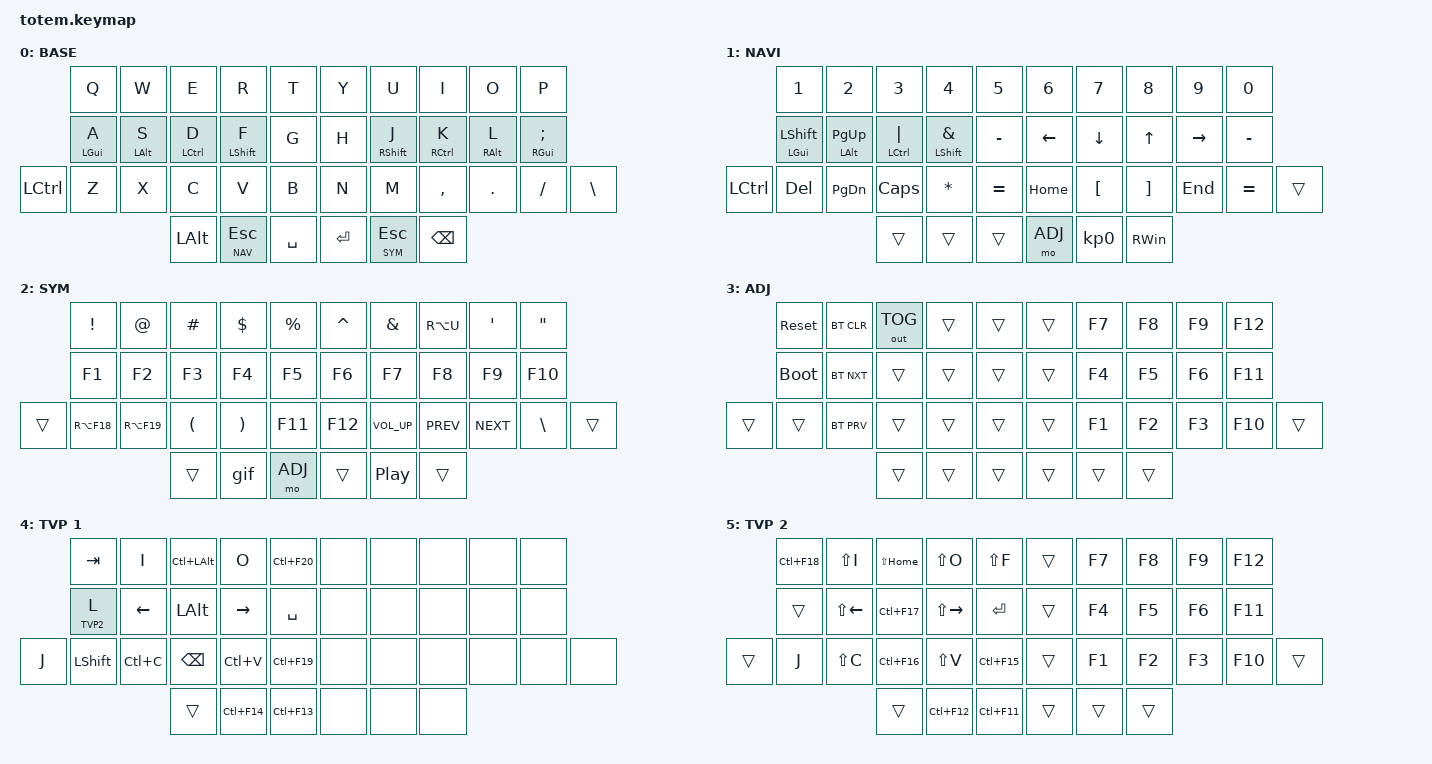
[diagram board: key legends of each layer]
//
//                                                        ▀▀▀▀▀     ▀▀▀▀▀          ▀▀█▀▀
//                                                        ▄▀▀▀▄  ▄  ▄▀▀▀▄  ▄  ▄▀▀▀▄  █  ▄▀▀▀▄
//                                                        █   █  █  █   █  █  █   █  █  █   █
//                                                         ▀▀▀   █   ▀▀▀   █   ▀▀▀   ▀   ▀▀▀
//                                                               █      ▄▄▄█▄▄▄    █   █  
//                                                               ▀      █  █  █     █▄█
//                                                             ▀▀▀▀▀    █  █  █      ▀
//                                                                      ▀  ▀  ▀
//
// ▄▄▄▄▄▄▄▄▄▄▄▄▄▄▄▄▄▄▄▄▄▄▄▄▄▄▄▄▄▄▄▄▄▄▄▄▄▄▄▄▄▄▄▄▄▄▄▄▄▄▄▄▄▄▄▄▄▄▄▄▄▄▄▄▄▄▄▄▄▄▄▄▄▄▄▄▄▄▄▄▄▄▄▄▄▄▄▄▄▄▄▄▄▄▄▄▄▄▄▄▄▄▄▄▄▄▄▄▄▄▄▄▄▄▄▄▄▄▄▄▄▄▄▄▄▄▄▄▄▄▄▄▄▄▄▄▄▄▄▄▄▄▄▄▄▄▄▄▄

#include <behaviors.dtsi>
#include <dt-bindings/zmk/bt.h>
#include <dt-bindings/zmk/keys.h>
#include <dt-bindings/zmk/outputs.h>

#define BASE 0
#define NAV  1
#define SYM  2
#define ADJ  3
#define TVP1 4
#define TVP2 5

&mt {
    quick-tap-ms = <100>;
    global-quick-tap;
    flavor = "tap-preferred";
    tapping-term-ms = <170>;
};

/ {
    combos {
        compatible = "zmk,combos";

        combo_esc {
            timeout-ms = <50>;
            key-positions = <0 1>;
            bindings = <&kp ESC>;
        };

        tab {
            bindings = <&kp TAB>;
            key-positions = <11 12 13>;
        };

        comboBackspace {
            bindings = <&kp GRAVE>;
            key-positions = <8 9>;
        };

        quotes {
            bindings = <&kp SQT>;
            key-positions = <19 18>;
        };
    };

    macros {
        gif: gif {
            label = "giphy";
            compatible = "zmk,behavior-macro";
            #binding-cells = <0>;
            bindings =
                <&macro_press>,
                <&kp LSHFT>,
                <&macro_tap>,
                <&kp N2>,
                <&macro_release>,
                <&kp LSHFT>,
                <&macro_tap>,
                <&kp G &kp I &kp F>;
        };
    };

    keymap {
        compatible = "zmk,keymap";

        // ▄▄▄▄▄▄▄▄▄▄▄▄▄▄▄▄▄▄▄▄▄▄▄▄▄▄▄▄▄▄▄▄▄▄▄▄▄▄▄▄▄▄▄▄▄▄▄▄▄▄▄▄▄▄▄▄▄▄▄▄▄▄▄▄▄▄▄▄▄▄▄▄▄▄▄▄▄▄▄▄▄▄▄▄▄▄▄▄▄▄▄▄▄▄▄▄▄▄▄▄▄▄▄▄▄▄▄▄▄▄▄▄▄▄▄▄▄▄▄▄▄▄▄▄▄▄▄▄▄▄▄▄▄▄▄▄▄▄▄▄▄▄▄▄▄▄▄▄▄

        base_layer {
            // ┏━━━━━━━━━━━━━━━━━━━━━━━━━━━━━━━━━━━━━━━┓

            label = "BASE";

            // ┗━━━━━━━━━━━━━━━━━━━━━━━━━━━━━━━━━━━━━━━┛
            //             ┏━━━━━━━━━━━┳━━━━━━━━━━━┳━━━━━━━━━━━┳━━━━━━━━━━━┳━━━━━━━━━━━┓   ┏━━━━━━━━━━━┳━━━━━━━━━━━┳━━━━━━━━━━━┳━━━━━━━━━━━┳━━━━━━━━━━━┓
            //             ┃     Q     ┃     W     ┃     F     ┃     P     ┃     G     ┃   ┃     J     ┃     L     ┃     U     ┃     Y     ┃     ;     ┃
            //             ┣━━━━━━━━━━━╋━━━━━━━━━━━╋━━━━━━━━━━━╋━━━━━━━━━━━╋━━━━━━━━━━━┫   ┣━━━━━━━━━━━╋━━━━━━━━━━━╋━━━━━━━━━━━╋━━━━━━━━━━━╋━━━━━━━━━━━┫
            //             ┃     A     ┃     R     ┃     S     ┃     T     ┃     D     ┃   ┃     H     ┃     N     ┃     E     ┃     I     ┃     O     ┃
            // ┏━━━━━━━━━━━╋━━━━━━━━━━━╋━━━━━━━━━━━╋━━━━━━━━━━━╋━━━━━━━━━━━╋━━━━━━━━━━━┫   ┣━━━━━━━━━━━╋━━━━━━━━━━━╋━━━━━━━━━━━╋━━━━━━━━━━━╋━━━━━━━━━━━╋━━━━━━━━━━━┓
            // ┃     Q     ┃     Z     ┃     X     ┃     C     ┃     V     ┃     B     ┃   ┃     K     ┃     M     ┃     ,     ┃     .     ┃     /     ┃     \     ┃
            // ┗━━━━━━━━━━━┻━━━━━━━━━━━┻━━━━━━━━━━━╋━━━━━━━━━━━╋━━━━━━━━━━━╋━━━━━━━━━━━┫   ┣━━━━━━━━━━━╋━━━━━━━━━━━╋━━━━━━━━━━━╋━━━━━━━━━━━┻━━━━━━━━━━━┻━━━━━━━━━━━┛
            //                                     ┃    DEL    ┃    TAB    ┃    SPC    ┃   ┃   ENTER   ┃           ┃   BSPC    ┃
            //                                     ┗━━━━━━━━━━━┻━━━━━━━━━━━┻━━━━━━━━━━━┛   ┗━━━━━━━━━━━┻━━━━━━━━━━━┻━━━━━━━━━━━┛

            bindings = <
           &kp Q       &kp W       &kp E         &kp R           &kp T        &kp Y    &kp U        &kp I          &kp O       &kp P
           &mt LGUI A  &mt LALT S  &mt LCTRL D   &mt LSHFT F     &kp G        &kp H    &mt RSHFT J  &mt RCTRL K    &mt RALT L  &mt RGUI SEMICOLON
&kp LCTRL  &kp Z       &kp X       &kp C         &kp V           &kp B        &kp N    &kp M        &kp COMMA      &kp DOT     &kp FSLH            &kp BSLH
                                   &kp LEFT_ALT  &lt NAV ESCAPE  &kp SPACE    &kp RET  &lt SYM ESC  &kp BACKSPACE
            >;
        };

        // ▄▄▄▄▄▄▄▄▄▄▄▄▄▄▄▄▄▄▄▄▄▄▄▄▄▄▄▄▄▄▄▄▄▄▄▄▄▄▄▄▄▄▄▄▄▄▄▄▄▄▄▄▄▄▄▄▄▄▄▄▄▄▄▄▄▄▄▄▄▄▄▄▄▄▄▄▄▄▄▄▄▄▄▄▄▄▄▄▄▄▄▄▄▄▄▄▄▄▄▄▄▄▄▄▄▄▄▄▄▄▄▄▄▄▄▄▄▄▄▄▄▄▄▄▄▄▄▄▄▄▄▄▄▄▄▄▄▄▄▄▄▄▄▄▄▄▄▄▄

        nav_layer {
            // ┏━━━━━━━━━━━━━━━━━━━━━━━━━━━━━━━━━━━━━━━┓

            label = "NAVI";

            // ┗━━━━━━━━━━━━━━━━━━━━━━━━━━━━━━━━━━━━━━━┛
            //             ┏━━━━━━━━━━━┳━━━━━━━━━━━┳━━━━━━━━━━━┳━━━━━━━━━━━┳━━━━━━━━━━━┓   ┏━━━━━━━━━━━┳━━━━━━━━━━━┳━━━━━━━━━━━┳━━━━━━━━━━━┳━━━━━━━━━━━┓
            //             ┃           ┃           ┃     UP    ┃           ┃     {     ┃   ┃     }     ┃     7     ┃     8     ┃     9     ┃     +     ┃
            //             ┣━━━━━━━━━━━╋━━━━━━━━━━━╋━━━━━━━━━━━╋━━━━━━━━━━━╋━━━━━━━━━━━┫   ┣━━━━━━━━━━━╋━━━━━━━━━━━╋━━━━━━━━━━━╋━━━━━━━━━━━╋━━━━━━━━━━━┫
            //             ┃   SHIFT   ┃   LEFT    ┃    DOWN   ┃   RIGHT   ┃     [     ┃   ┃     ]     ┃     4     ┃     5     ┃     6     ┃     -     ┃
            // ┏━━━━━━━━━━━╋━━━━━━━━━━━╋━━━━━━━━━━━╋━━━━━━━━━━━╋━━━━━━━━━━━╋━━━━━━━━━━━┫   ┣━━━━━━━━━━━╋━━━━━━━━━━━╋━━━━━━━━━━━╋━━━━━━━━━━━╋━━━━━━━━━━━╋━━━━━━━━━━━┓
            // ┃           ┃           ┃   P UP    ┃  C LOCK   ┃  P DOWN   ┃     (     ┃   ┃     )     ┃     1     ┃     2     ┃     3     ┃     *     ┃           ┃
            // ┗━━━━━━━━━━━┻━━━━━━━━━━━┻━━━━━━━━━━━╋━━━━━━━━━━━╋━━━━━━━━━━━╋━━━━━━━━━━━┫   ┣━━━━━━━━━━━╋━━━━━━━━━━━╋━━━━━━━━━━━╋━━━━━━━━━━━┻━━━━━━━━━━━┻━━━━━━━━━━━┛
            //                                     ┃           ┃    TAB    ┃    SPC    ┃   ┃    DEL    ┃     0     ┃           ┃
            //                                     ┗━━━━━━━━━━━┻━━━━━━━━━━━┻━━━━━━━━━━━┛   ┗━━━━━━━━━━━┻━━━━━━━━━━━┻━━━━━━━━━━━┛

            bindings = <
           &kp NUMBER_1             &kp NUMBER_2          &kp NUMBER_3    &kp NUMBER_4              &kp NUMBER_5    &kp NUMBER_6  &kp N7            &kp N8             &kp N9           &kp N0
           &mt LEFT_GUI LEFT_SHIFT  &mt LEFT_ALT PAGE_UP  &mt LCTRL PIPE  &mt LEFT_SHIFT AMPERSAND  &kp MINUS       &kp LEFT      &kp DOWN          &kp UP_ARROW       &kp RIGHT_ARROW  &kp MINUS
&kp LCTRL  &kp DEL                  &kp PAGE_DOWN         &kp CAPS        &kp STAR                  &kp EQUAL       &kp HOME      &kp LEFT_BRACKET  &kp RIGHT_BRACKET  &kp END          &kp EQUAL  &trans
                                                          &trans          &trans                    &trans          &mo ADJ       &kp KP_N0         &kp RWIN
            >;
        };

        // ▄▄▄▄▄▄▄▄▄▄▄▄▄▄▄▄▄▄▄▄▄▄▄▄▄▄▄▄▄▄▄▄▄▄▄▄▄▄▄▄▄▄▄▄▄▄▄▄▄▄▄▄▄▄▄▄▄▄▄▄▄▄▄▄▄▄▄▄▄▄▄▄▄▄▄▄▄▄▄▄▄▄▄▄▄▄▄▄▄▄▄▄▄▄▄▄▄▄▄▄▄▄▄▄▄▄▄▄▄▄▄▄▄▄▄▄▄▄▄▄▄▄▄▄▄▄▄▄▄▄▄▄▄▄▄▄▄▄▄▄▄▄▄▄▄▄▄▄▄

        sim_layer {
            // ┏━━━━━━━━━━━━━━━━━━━━━━━━━━━━━━━━━━━━━━━┓

            label = "SYM";

            // ┗━━━━━━━━━━━━━━━━━━━━━━━━━━━━━━━━━━━━━━━┛
            //             ┏━━━━━━━━━━━┳━━━━━━━━━━━┳━━━━━━━━━━━┳━━━━━━━━━━━┳━━━━━━━━━━━┓   ┏━━━━━━━━━━━┳━━━━━━━━━━━┳━━━━━━━━━━━┳━━━━━━━━━━━┳━━━━━━━━━━━┓
            //             ┃     !     ┃     @     ┃     #     ┃     $     ┃     %     ┃   ┃     ˆ     ┃     &     ┃     Ü     ┃     '     ┃     "     ┃
            //             ┣━━━━━━━━━━━╋━━━━━━━━━━━╋━━━━━━━━━━━╋━━━━━━━━━━━╋━━━━━━━━━━━┫   ┣━━━━━━━━━━━╋━━━━━━━━━━━╋━━━━━━━━━━━╋━━━━━━━━━━━╋━━━━━━━━━━━┫
            //             ┃     Ä     ┃           ┃    SZ     ┃           ┃           ┃   ┃   MUTE    ┃   YEN     ┃   EURO    ┃  POUND    ┃     Ö     ┃
            // ┏━━━━━━━━━━━╋━━━━━━━━━━━╋━━━━━━━━━━━╋━━━━━━━━━━━╋━━━━━━━━━━━╋━━━━━━━━━━━┫   ┣━━━━━━━━━━━╋━━━━━━━━━━━╋━━━━━━━━━━━╋━━━━━━━━━━━╋━━━━━━━━━━━╋━━━━━━━━━━━┓
            // ┃           ┃  EMAIL1   ┃  EMAIL2   ┃           ┃           ┃           ┃   ┃   VOL-    ┃   VOL+    ┃   LAST    ┃   NEXT    ┃     \     ┃           ┃
            // ┗━━━━━━━━━━━┻━━━━━━━━━━━┻━━━━━━━━━━━╋━━━━━━━━━━━╋━━━━━━━━━━━╋━━━━━━━━━━━┫   ┣━━━━━━━━━━━╋━━━━━━━━━━━╋━━━━━━━━━━━╋━━━━━━━━━━━┻━━━━━━━━━━━┻━━━━━━━━━━━┛
            //                                     ┃           ┃    GIF    ┃    ADJ    ┃   ┃           ┃           ┃           ┃
            //                                     ┗━━━━━━━━━━━┻━━━━━━━━━━━┻━━━━━━━━━━━┛   ┗━━━━━━━━━━━┻━━━━━━━━━━━┻━━━━━━━━━━━┛

            bindings = <
        &kp EXCL     &kp AT       &kp HASH              &kp DLLR               &kp PRCNT    &kp CARET  &kp AMPS      &kp RA(U)   &kp SQT     &kp DQT
        &kp F1       &kp F2       &kp F3                &kp F4                 &kp F5       &kp F6     &kp F7        &kp F8      &kp F9      &kp F10
&trans  &kp RA(F18)  &kp RA(F19)  &kp LEFT_PARENTHESIS  &kp RIGHT_PARENTHESIS  &kp F11      &kp F12    &kp C_VOL_UP  &kp C_PREV  &kp C_NEXT  &kp BSLH  &trans
                                  &trans                &gif                   &mo ADJ      &trans     &kp C_PP      &trans
            >;
        };

        // ▄▄▄▄▄▄▄▄▄▄▄▄▄▄▄▄▄▄▄▄▄▄▄▄▄▄▄▄▄▄▄▄▄▄▄▄▄▄▄▄▄▄▄▄▄▄▄▄▄▄▄▄▄▄▄▄▄▄▄▄▄▄▄▄▄▄▄▄▄▄▄▄▄▄▄▄▄▄▄▄▄▄▄▄▄▄▄▄▄▄▄▄▄▄▄▄▄▄▄▄▄▄▄▄▄▄▄▄▄▄▄▄▄▄▄▄▄▄▄▄▄▄▄▄▄▄▄▄▄▄▄▄▄▄▄▄▄▄▄▄▄▄▄▄▄▄▄▄▄

        adjust_layer {
            // ┏━━━━━━━━━━━━━━━━━━━━━━━━━━━━━━━━━━━━━━━┓

            label = "ADJ";

            // ┗━━━━━━━━━━━━━━━━━━━━━━━━━━━━━━━━━━━━━━━┛
            //             ┏━━━━━━━━━━━┳━━━━━━━━━━━┳━━━━━━━━━━━┳━━━━━━━━━━━┳━━━━━━━━━━━┓   ┏━━━━━━━━━━━┳━━━━━━━━━━━┳━━━━━━━━━━━┳━━━━━━━━━━━┳━━━━━━━━━━━┓
            //             ┃   RESET   ┃ BT CLEAR  ┃  OUT TOG  ┃           ┃           ┃   ┃           ┃    F7     ┃    F8     ┃    F9     ┃    F12    ┃
            //             ┣━━━━━━━━━━━╋━━━━━━━━━━━╋━━━━━━━━━━━╋━━━━━━━━━━━╋━━━━━━━━━━━┫   ┣━━━━━━━━━━━╋━━━━━━━━━━━╋━━━━━━━━━━━╋━━━━━━━━━━━╋━━━━━━━━━━━┫
            //             ┃ BOOTLOAD  ┃ BT NEXT   ┃           ┃           ┃           ┃   ┃           ┃    F4     ┃    F5     ┃    F6     ┃    F11    ┃
            // ┏━━━━━━━━━━━╋━━━━━━━━━━━╋━━━━━━━━━━━╋━━━━━━━━━━━╋━━━━━━━━━━━╋━━━━━━━━━━━┫   ┣━━━━━━━━━━━╋━━━━━━━━━━━╋━━━━━━━━━━━╋━━━━━━━━━━━╋━━━━━━━━━━━╋━━━━━━━━━━━┓
            // ┃           ┃           ┃ BT PREV   ┃           ┃           ┃           ┃   ┃           ┃    F1     ┃    F2     ┃    F3     ┃    F10    ┃           ┃
            // ┗━━━━━━━━━━━┻━━━━━━━━━━━┻━━━━━━━━━━━╋━━━━━━━━━━━╋━━━━━━━━━━━╋━━━━━━━━━━━┫   ┣━━━━━━━━━━━╋━━━━━━━━━━━╋━━━━━━━━━━━╋━━━━━━━━━━━┻━━━━━━━━━━━┻━━━━━━━━━━━┛
            //                                     ┃           ┃           ┃           ┃   ┃           ┃           ┃           ┃
            //                                     ┗━━━━━━━━━━━┻━━━━━━━━━━━┻━━━━━━━━━━━┛   ┗━━━━━━━━━━━┻━━━━━━━━━━━┻━━━━━━━━━━━┛

            bindings = <
        &sys_reset   &bt BT_CLR  &out OUT_TOG  &trans  &trans    &trans  &kp F7  &kp F8  &kp F9  &kp F12
        &bootloader  &bt BT_NXT  &trans        &trans  &trans    &trans  &kp F4  &kp F5  &kp F6  &kp F11
&trans  &trans       &bt BT_PRV  &trans        &trans  &trans    &trans  &kp F1  &kp F2  &kp F3  &kp F10  &trans
                                 &trans        &trans  &trans    &trans  &trans  &trans
            >;
        };

        // ▄▄▄▄▄▄▄▄▄▄▄▄▄▄▄▄▄▄▄▄▄▄▄▄▄▄▄▄▄▄▄▄▄▄▄▄▄▄▄▄▄▄▄▄▄▄▄▄▄▄▄▄▄▄▄▄▄▄▄▄▄▄▄▄▄▄▄▄▄▄▄▄▄▄▄▄▄▄▄▄▄▄▄▄▄▄▄▄▄▄▄▄▄▄▄▄▄▄▄▄▄▄▄▄▄▄▄▄▄▄▄▄▄▄▄▄▄▄▄▄▄▄▄▄▄▄▄▄▄▄▄▄▄▄▄▄▄▄▄▄▄▄▄▄▄▄▄▄▄

        tvp1_layer {
            // ┏━━━━━━━━━━━━━━━━━━━━━━━━━━━━━━━━━━━━━━━┓

            label = "TVP 1";

            // ┗━━━━━━━━━━━━━━━━━━━━━━━━━━━━━━━━━━━━━━━┛
            //             ┏━━━━━━━━━━━┳━━━━━━━━━━━┳━━━━━━━━━━━┳━━━━━━━━━━━┳━━━━━━━━━━━┓   ┏━━━━━━━━━━━┳━━━━━━━━━━━┳━━━━━━━━━━━┳━━━━━━━━━━━┳━━━━━━━━━━━┓
            //             ┃ NEXT FILE ┃ MARK IN   ┃ ROTATE    ┃ MARK OUT  ┃ SHOW SNAP ┃   ┃           ┃           ┃           ┃           ┃           ┃
            //             ┣━━━━━━━━━━━╋━━━━━━━━━━━╋━━━━━━━━━━━╋━━━━━━━━━━━╋━━━━━━━━━━━┫   ┣━━━━━━━━━━━╋━━━━━━━━━━━╋━━━━━━━━━━━╋━━━━━━━━━━━╋━━━━━━━━━━━┫
            //             ┃ TVP II    ┃ LEFT      ┃ PAN       ┃ RIGHT     ┃ PLAY/FLIP ┃   ┃           ┃           ┃           ┃           ┃           ┃
            // ┏━━━━━━━━━━━╋━━━━━━━━━━━╋━━━━━━━━━━━╋━━━━━━━━━━━╋━━━━━━━━━━━╋━━━━━━━━━━━┫   ┣━━━━━━━━━━━╋━━━━━━━━━━━╋━━━━━━━━━━━╋━━━━━━━━━━━╋━━━━━━━━━━━╋━━━━━━━━━━━┓
            // ┃ FULLSCR   ┃ SHIFT     ┃ COPY      ┃ DELETE    ┃ PASTE     ┃ IMG MARK  ┃   ┃           ┃           ┃           ┃           ┃           ┃           ┃
            // ┗━━━━━━━━━━━┻━━━━━━━━━━━┻━━━━━━━━━━━╋━━━━━━━━━━━╋━━━━━━━━━━━╋━━━━━━━━━━━┫   ┣━━━━━━━━━━━╋━━━━━━━━━━━╋━━━━━━━━━━━╋━━━━━━━━━━━┻━━━━━━━━━━━┻━━━━━━━━━━━┛
            //                                     ┃           ┃ UNDO/SAVE ┃  SEL/MOV  ┃   ┃           ┃           ┃           ┃
            //                                     ┗━━━━━━━━━━━┻━━━━━━━━━━━┻━━━━━━━━━━━┛   ┗━━━━━━━━━━━┻━━━━━━━━━━━┻━━━━━━━━━━━┛

            bindings = <
       &kp TAB     &kp I      &kp LC(LALT)  &kp O        &kp LC(F20)    &none  &none  &none  &none  &none
       &lt TVP2 L  &kp LEFT   &kp LALT      &kp RIGHT    &kp SPACE      &none  &none  &none  &none  &none
&kp J  &kp LSHFT   &kp LC(C)  &kp BSPC      &kp LC(V)    &kp LC(F19)    &none  &none  &none  &none  &none  &none
                              &trans        &kp LC(F14)  &kp LC(F13)    &none  &none  &none
            >;
        };

        // ▄▄▄▄▄▄▄▄▄▄▄▄▄▄▄▄▄▄▄▄▄▄▄▄▄▄▄▄▄▄▄▄▄▄▄▄▄▄▄▄▄▄▄▄▄▄▄▄▄▄▄▄▄▄▄▄▄▄▄▄▄▄▄▄▄▄▄▄▄▄▄▄▄▄▄▄▄▄▄▄▄▄▄▄▄▄▄▄▄▄▄▄▄▄▄▄▄▄▄▄▄▄▄▄▄▄▄▄▄▄▄▄▄▄▄▄▄▄▄▄▄▄▄▄▄▄▄▄▄▄▄▄▄▄▄▄▄▄▄▄▄▄▄▄▄▄▄▄▄

        tvp2_layer {
            // ┏━━━━━━━━━━━━━━━━━━━━━━━━━━━━━━━━━━━━━━━┓

            label = "TVP 2";

            // ┗━━━━━━━━━━━━━━━━━━━━━━━━━━━━━━━━━━━━━━━┛
            //             ┏━━━━━━━━━━━┳━━━━━━━━━━━┳━━━━━━━━━━━┳━━━━━━━━━━━┳━━━━━━━━━━━┓   ┏━━━━━━━━━━━┳━━━━━━━━━━━┳━━━━━━━━━━━┳━━━━━━━━━━━┳━━━━━━━━━━━┓
            //             ┃ SOLO      ┃ TOGGLE IN ┃ RESET ROT ┃ TOGGLE OUT┃ TAKE SNAP ┃   ┃           ┃           ┃           ┃           ┃           ┃
            //             ┣━━━━━━━━━━━╋━━━━━━━━━━━╋━━━━━━━━━━━╋━━━━━━━━━━━╋━━━━━━━━━━━┫   ┣━━━━━━━━━━━╋━━━━━━━━━━━╋━━━━━━━━━━━╋━━━━━━━━━━━╋━━━━━━━━━━━┫
            //             ┃ ---       ┃ LAST KEY  ┃ NEW KEY   ┃ NEXT KEY  ┃ ENTER     ┃   ┃           ┃           ┃           ┃           ┃           ┃
            // ┏━━━━━━━━━━━╋━━━━━━━━━━━╋━━━━━━━━━━━╋━━━━━━━━━━━╋━━━━━━━━━━━╋━━━━━━━━━━━┫   ┣━━━━━━━━━━━╋━━━━━━━━━━━╋━━━━━━━━━━━╋━━━━━━━━━━━╋━━━━━━━━━━━╋━━━━━━━━━━━┓
            // ┃           ┃ FULLSCR   ┃ CPY2BRUSH ┃ DEL HEAD  ┃ PSTinPLACE┃ BOOK MARK ┃   ┃           ┃           ┃           ┃           ┃           ┃           ┃
            // ┗━━━━━━━━━━━┻━━━━━━━━━━━┻━━━━━━━━━━━╋━━━━━━━━━━━╋━━━━━━━━━━━╋━━━━━━━━━━━┫   ┣━━━━━━━━━━━╋━━━━━━━━━━━╋━━━━━━━━━━━╋━━━━━━━━━━━┻━━━━━━━━━━━┻━━━━━━━━━━━┛
            //                                     ┃           ┃ REDO/SAV1 ┃TRANS/WARP ┃   ┃           ┃           ┃           ┃
            //                                     ┗━━━━━━━━━━━┻━━━━━━━━━━━┻━━━━━━━━━━━┛   ┗━━━━━━━━━━━┻━━━━━━━━━━━┻━━━━━━━━━━━┛

            bindings = <
        &kp LC(F18)  &kp LS(I)     &kp LS(HOME)  &kp LS(O)      &kp LS(F)      &trans  &kp F7  &kp F8  &kp F9  &kp F12
        &trans       &kp LS(LEFT)  &kp LC(F17)   &kp LS(RIGHT)  &kp RET        &trans  &kp F4  &kp F5  &kp F6  &kp F11
&trans  &kp J        &kp LS(C)     &kp LC(F16)   &kp LS(V)      &kp LC(F15)    &trans  &kp F1  &kp F2  &kp F3  &kp F10  &trans
                                   &trans        &kp LC(F12)    &kp LC(F11)    &trans  &trans  &trans
            >;
        };
    };
};
